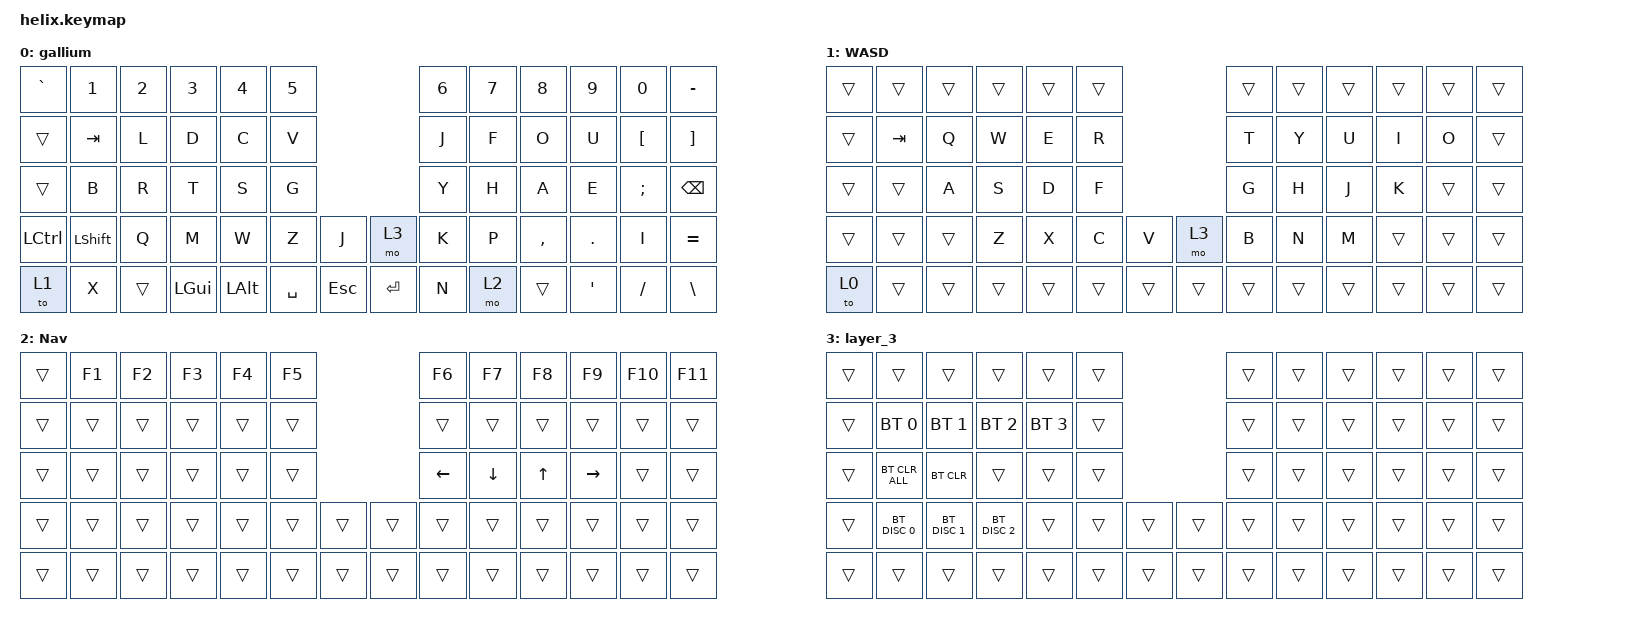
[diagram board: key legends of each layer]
/*
 * Copyright (c) 2020 The ZMK Contributors
 *
 * SPDX-License-Identifier: MIT
 */

#include <behaviors.dtsi>
#include <dt-bindings/zmk/bt.h>
#include <dt-bindings/zmk/keys.h>

#define DEFAULT 0
#define LOWER  1
#define RAISE  2
#define ADJUST 3

/* NOTE: At the time of the creation of this keymap, there are no specified codes for 'eisuu' and 'kana' input in ZMK.
However, 'LANG1' and 'LANG2' are fully-functioning candidates for 'kana' and 'eisuu' input respectively.
As such, those are in use within the default layer at this time.*/

/ {
    keymap {
        compatible = "zmk,keymap";

        gallium {
            bindings = <
&kp GRAVE         &kp N1          &kp N2  &kp N3    &kp N4        &kp N5                              &kp N6  &kp N7  &kp N8     &kp N9      &kp N0            &kp MINUS
&trans            &kp TAB         &kp L   &kp D     &kp C         &kp V                               &kp J   &kp F   &kp O      &kp U       &kp LEFT_BRACKET  &kp RIGHT_BRACKET
&trans            &kp B           &kp R   &kp T     &kp S         &kp G                               &kp Y   &kp H   &kp A      &kp E       &kp SEMICOLON     &kp BACKSPACE
&kp LEFT_CONTROL  &kp LEFT_SHIFT  &kp Q   &kp M     &kp W         &kp Z      &kp J         &mo 3      &kp K   &kp P   &kp COMMA  &kp PERIOD  &kp I             &kp EQUAL
&to 1             &kp X           &trans  &kp LGUI  &kp LEFT_ALT  &kp SPACE  &kp ESCAPE    &kp ENTER  &kp N   &mo 2   &trans     &kp SQT     &kp SLASH         &kp BACKSLASH
            >;
        };

        WASD {
            // ---------------------------------------------------------------------------------------------------------------------------------
            // | GRAVE  |   1    |   2    |   3    |   4    |   5    |                                      |   6    |   7    |   8    |   9    |   0    |  DEL   |
            // |  TAB   |   Q    |   W    |   E    |   R    |   T    |                                      |   Y    |   U    |   I    |   O    |   P    |  BSPC  |
            // |  CTRL  |   A    |   S    |   D    |   F    |   G    |                                      |   H    |   J    |   K    |   L    |   ;    |   '    |
            // |  SHIFT |   Z    |   X    |   C    |   V    |   B    |  LBKT  |                    |  RBKT  |   N    |   M    |   ,    |   .    |   /    |  RET   |
            // | ADJUST |  ESC   |  ALT   |  LGUI  | EISUU  | LOWER  | SPACE  |                    |  SPACE | RAISE  |  KANA  |  LEFT  |  DOWN  |  UP    |  RIGHT |

            bindings = <
&trans  &trans   &trans  &trans  &trans  &trans                    &trans  &trans  &trans  &trans  &trans  &trans
&trans  &kp TAB  &kp Q   &kp W   &kp E   &kp R                     &kp T   &kp Y   &kp U   &kp I   &kp O   &trans
&trans  &trans   &kp A   &kp S   &kp D   &kp F                     &kp G   &kp H   &kp J   &kp K   &trans  &trans
&trans  &trans   &trans  &kp Z   &kp X   &kp C   &kp V     &mo 3   &kp B   &kp N   &kp M   &trans  &trans  &trans
&to 0   &trans   &trans  &trans  &trans  &trans  &trans    &trans  &trans  &trans  &trans  &trans  &trans  &trans
            >;
        };

        Nav {
            bindings = <
&trans  &kp F1  &kp F2  &kp F3  &kp F4  &kp F5                    &kp F6          &kp F7          &kp F8        &kp F9           &kp F10  &kp F11
&trans  &trans  &trans  &trans  &trans  &trans                    &trans          &trans          &trans        &trans           &trans   &trans
&trans  &trans  &trans  &trans  &trans  &trans                    &kp LEFT_ARROW  &kp DOWN_ARROW  &kp UP_ARROW  &kp RIGHT_ARROW  &trans   &trans
&trans  &trans  &trans  &trans  &trans  &trans  &trans    &trans  &trans          &trans          &trans        &trans           &trans   &trans
&trans  &trans  &trans  &trans  &trans  &trans  &trans    &trans  &trans          &trans          &trans        &trans           &trans   &trans
            >;
        };

        layer_3 {
            bindings = <
&trans  &trans          &trans         &trans         &trans        &trans                    &trans  &trans  &trans  &trans  &trans  &trans
&trans  &bt BT_SEL 0    &bt BT_SEL 1   &bt BT_SEL 2   &bt BT_SEL 3  &trans                    &trans  &trans  &trans  &trans  &trans  &trans
&trans  &bt BT_CLR_ALL  &bt BT_CLR     &trans         &trans        &trans                    &trans  &trans  &trans  &trans  &trans  &trans
&trans  &bt BT_DISC 0   &bt BT_DISC 1  &bt BT_DISC 2  &trans        &trans  &trans    &trans  &trans  &trans  &trans  &trans  &trans  &trans
&trans  &trans          &trans         &trans         &trans        &trans  &trans    &trans  &trans  &trans  &trans  &trans  &trans  &trans
            >;
        };
    };
};
